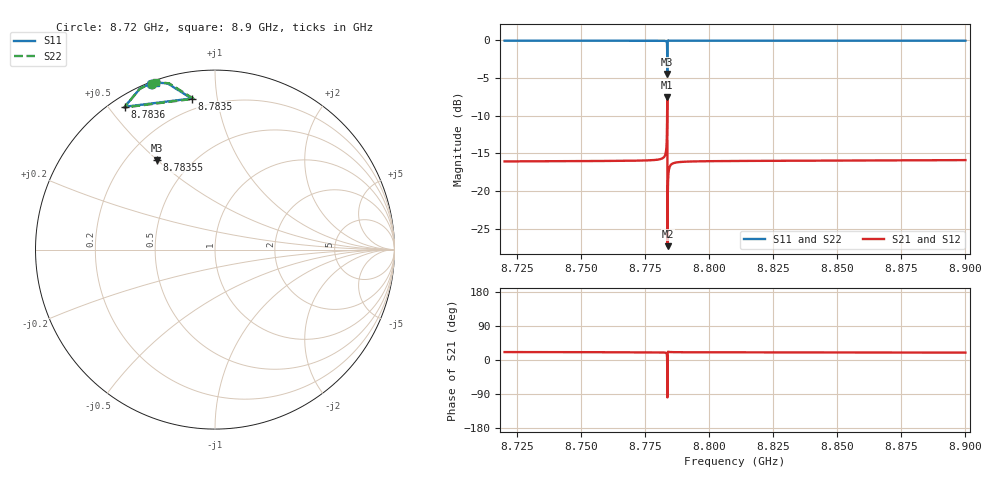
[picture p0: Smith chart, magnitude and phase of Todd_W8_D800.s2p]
! Sonnet Data File
! From: emgraph Version : 16.52
! From Project: transmon_brgOdd
! Data is De-embedded
! Data File Written: 11/11/2017 22:28:46
!< HDATE 11/11/2017 18:22:48
!< MDATE 11/11/2017 18:22:48
!< PARAMS
!< Lj = 15.24
!< Gap = 6.0
!< Width = 10.0
!< Airgap = 6.0
!< Pwidth = 2000.0
!< Dist = 800.0
!< END PARAMS
# GHZ S MA R 34.67000
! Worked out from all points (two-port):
!   3601 points, 8.72 GHz to 8.9 GHz, reference 34.67 ohm
!   highest |S21| = -7.61 dB at 8.78355 GHz (marker M1); lowest = -27.3 dB at 8.78365 GHz (marker M2)
!   |S21| within 3 dB of the highest: 8.78346 GHz to 8.78356 GHz (100.2 kHz wide, 0.00114 % of centre)
!   lowest |S11| = -4.5 dB at 8.78355 GHz (marker M3), VSWR 3.93, Z = 11.2 + j17.3 ohm
!   |S11| at or under -10 dB: nowhere
!   |S22| runs from -4.7 to -0.1 dB; largest |S21 - S12| = 0
!   S11 on the Smith chart (normalised r, x): 8.72 GHz: 0.01, +0.69; 8.7835 GHz: 0.14, +0.85; 8.78355 GHz: 0.32, +0.50; 8.7836 GHz: 0.04, +0.55; 8.9 GHz: 0.01, +0.71
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8.72  0.9875 111.0  0.1573 20.9  0.1573 20.9  0.9875 110.8
!< P1 F=8.72 Eeff=(5.13609477 -5.6761e-5) Z0=(34.6490765 -9.5162e-5) R=0.0 C=0.0
!< P2 F=8.72 Eeff=(5.13609477 -5.6761e-5) Z0=(34.6490765 -9.5162e-5) R=0.0 C=0.0
8.75  0.9874 110.8  0.1581 20.7  0.1581 20.7  0.9874 110.6
8.78  0.9868 110.3  0.1618 20.2  0.1618 20.2  0.9868 110.1
8.78205  0.9859 110.0  0.1667 19.9  0.1667 19.9  0.9859 109.8
8.78245  0.9853 109.9  0.1698 19.7  0.1698 19.7  0.9853 109.7
8.7826  0.9849 109.8  0.1716 19.6  0.1716 19.6  0.9849 109.5
8.78265  0.9848 109.7  0.1723 19.5  0.1723 19.5  0.9848 109.5
8.7829  0.9836 109.4  0.1777 19.1  0.1777 19.1  0.9836 109.2
8.7835  0.8518 98.8  0.3689 -4.5  0.3689 -4.5  0.8488 98.1
8.78355  0.5941 123.0  0.4163 -65.6  0.4163 -65.6  0.5789 123.4
8.7836  0.9415 122.3  0.07741 -98.7  0.07741 -98.7  0.9393 122.6
8.78365  0.9815 117.2  0.04333 2.7  0.04333 2.7  0.9808 117.3
8.78425  0.9897 111.5  0.1404 21.3  0.1404 21.3  0.9897 111.4
8.78445  0.9893 111.3  0.1444 21.1  0.1444 21.1  0.9893 111.1
8.7845  0.9892 111.2  0.1451 21.1  0.1451 21.1  0.9892 111.1
8.7847  0.9889 111.1  0.1474 21.0  0.1474 21.0  0.9889 111.0
8.78505  0.9886 111.0  0.15 20.9  0.15 20.9  0.9886 110.8
8.78705  0.9879 110.7  0.1548 20.6  0.1548 20.6  0.9879 110.5
8.81  0.9874 110.3  0.1584 20.2  0.1584 20.2  0.9874 110.1
8.84  0.9872 110.1  0.1592 20.0  0.1592 20.0  0.9872 109.9
8.87  0.9871 109.8  0.1599 19.7  0.1599 19.7  0.9871 109.6
8.9  0.987 109.6  0.1605 19.5  0.1605 19.5  0.987 109.4
